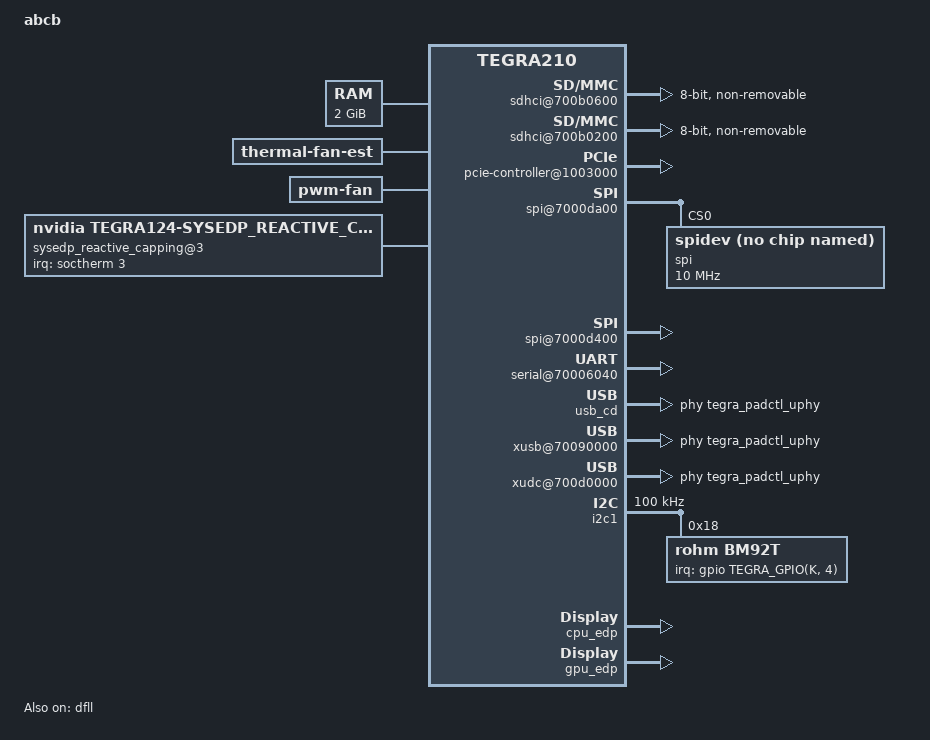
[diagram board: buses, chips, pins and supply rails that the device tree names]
/*
 * arch/arm64/boot/dts/tegra210-abca-common.dtsi
 *
 * Copyright (c) 2014-2017, NVIDIA CORPORATION.  All rights reserved.
 *
 * This program is free software; you can redistribute it and/or modify
 * it under the terms of the GNU General Public License as published by
 * the Free Software Foundation; version 2 of the License.
 *
 * This program is distributed in the hope that it will be useful, but WITHOUT
 * ANY WARRANTY; without even the implied warranty of MERCHANTABILITY or
 * FITNESS FOR A PARTICULAR PURPOSE.  See the GNU General Public License for
 * more details.
 *
 */

/dts-v1/;

/memreserve/ 0x80000000 0x00020000;

#include <t210-common-platforms/tegra210-common.dtsi>
#include <t210-common-platforms/tegra210-cpufreq.dtsi>
#include "abca-platforms/tegra210-abca-gpio.dtsi"
#include <t210-common-platforms/tegra210-pinmux-drive-sdmmc-common.dtsi>
#include "abca-platforms/tegra210-abcb-pinmux-01-00.dtsi"
#include "abca-platforms/tegra210-abca-prods.dtsi"
#include "abca-platforms/tegra210-abca-comms.dtsi"
#include <tegra210-soc/tegra210-sdhci.dtsi>
#include "abca-platforms/tegra210-thermal-fan-est-p2530-0930.dtsi"
#include "abca-platforms/tegra210-abcb-keys.dtsi"
#include <tegra210-soc/tegra210-edp.dtsi>
#include <t210-common-platforms/tegra210-sysedp.dtsi>
#include <tegra210-soc/tegra210-audio.dtsi>
#include <t210-common-platforms/tegra210-thermal-nct72-p2530.dtsi>
#include <tegra210-soc/tegra210-thermal-Tboard-Tdiode.dtsi>
#include "abca-platforms/tegra210-pwm-fan-p2530-0930.dtsi"
#include <dt-bindings/clock/tegra210-car.h>
#include <dt-bindings/reset/tegra210-car.h>
#include <dt-bindings/soc/tegra-pmc.h>
#include <dt-bindings/thermal/tegra124-soctherm.h>
#include <dt-bindings/thermal/tegra210-trips.h>

/ {
	model = "abcb";
	compatible = "nvidia,abcb", "nvidia,tegra210";
	nvidia,dtsfilename = __FILE__;

	nvidia,boardids = "2595:0000:A0";
	nvidia,proc-boardid = "2595:0000:A0";
	nvidia,pmu-boardid = "2595:0000:A0";
	#address-cells = <2>;
	#size-cells = <2>;

	chosen {
		bootargs = "earlycon=uart8250,mmio32,0x70006000";
		stdout-path = &uarta;
	};

	firmware {
		android {
			compatible = "android,firmware";
			hardware = "abcb";
		};
	};

	dvfs {
		compatible = "nvidia,tegra210-dvfs";
	};

	rtc {
		nvidia,pmc-wakeup = <&tegra_pmc PMC_WAKE_TYPE_EVENT 16
			PMC_TRIGGER_TYPE_HIGH>;
	};

	pmc@7000e400 {
		nvidia,invert-interrupt;
		nvidia,suspend-mode = <0>;
		nvidia,cpu-pwr-good-time = <0>;
		nvidia,cpu-pwr-off-time = <0>;
		nvidia,core-pwr-good-time = <4587 3876>;
		nvidia,core-pwr-off-time = <39065>;
		nvidia,core-power-req-active-high;
		nvidia,sys-clock-req-active-high;
		#nvidia,wake-cells = <3>;
		io-pad-defaults {
			audio-hv {
				nvidia,io-pad-init-voltage = <IO_PAD_VOLTAGE_1_8V>;
			};
			spi-hv {
				nvidia,io-pad-init-voltage = <IO_PAD_VOLTAGE_1_8V>;
			};
			gpio {
				nvidia,io-pad-init-voltage = <IO_PAD_VOLTAGE_1_8V>;
			};
			sdmmc3 {
				nvidia,io-pad-init-voltage = <IO_PAD_VOLTAGE_1_8V>;
			};
		};
	};

	memory@80000000 {
		device_type = "memory";
		reg = < 0x0 0x80000000 0x0 0x80000000 >;
	};

	sdhci@700b0600 { /* SDMMC4 for EMMC */
		tap-delay = <0>;
		max-clk-limit = <200000000>;
		uhs-mask = <0x0>;	/* hs400 */
		built-in;
		pll_source = "pll_p", "pll_c4_out2";
		power-off-rail;
		bus-width = <8>;
		non-removable;
		status = "okay";
	};

	sdhci@700b0400 {
		status = "disabled";
	};

	sdhci@700b0200 { /* SDMMC2 for 2nd EMMC */
		uhs-mask = <0x0>;	/* hs400 */
		built-in;
		power-off-rail;
		tap-delay = <0>;
		trim-delay = <8>;
		nvidia,is-ddr-tap-delay;
		nvidia,ddr-tap-delay = <0>;
		mmc-ocr-mask = <0>;
		dqs-trim-delay = <17>;
		max-clk-limit = <200000000>;
		bus-width = <8>;
		non-removable;
		built-in;
		nvidia,en-io-trim-volt;
		nvidia,is-emmc;
		nvidia,enable-cq;
		pll_source = "pll_p", "pll_c4_out2";
		status = "okay";
	};

	sdhci@700b0000 {
		status = "disabled";
	};

	adma@702e2000  {
		dma-channels = <10>;
		status = "okay";
	};

	ahub {
		i2s@702d1000 {
			pinctrl-names = "dap_active", "dap_inactive";
			pinctrl-0 = <>;
			pinctrl-1 = <>;
			regulator-supplies = "vdd-1v8-audio-hv", "vdd-1v8-audio-hv-bias";
			vdd-1v8-audio-hv-supply = <&max77620_sd3>;
			vdd-1v8-audio-hv-bias-supply = <&max77620_sd3>;
		};

		i2s@702d1300 {
			pinctrl-names = "dap_active", "dap_inactive";
			pinctrl-0 = <>;
			pinctrl-1 = <>;
			regulator-supplies = "vddio-dmic";
			vddio-dmic-supply = <&max77620_sd3>;
		};

		i2s@702d1100 {
			pinctrl-names = "dap_active", "dap_inactive";
			pinctrl-0 = <>;
			pinctrl-1 = <>;
			regulator-supplies = "vdd-1v8-spi-hv", "vdd-1v8-spi-hv-bias";
			vdd-1v8-spi-hv-supply = <&max77620_sd3>;
			vdd-1v8-spi-hv-bias-supply = <&max77620_sd3>;
			fsync-width = <0>;
		};
	};

	pcie-controller@1003000 {
		nvidia,wake-gpio = <&gpio TEGRA_GPIO(A, 2) 0>;
		dvdd-pex-pll-supply = <&max77620_ldo1>;
		l0-dvddio-pex-supply = <&max77620_ldo1>;
		l1-dvddio-pex-supply = <&max77620_ldo1>;
		l2-dvddio-pex-supply = <&max77620_ldo1>;
		l3-dvddio-pex-supply = <&max77620_ldo1>;
		l4-dvddio-pex-supply = <&max77620_ldo1>;
		l5-dvddio-pex-supply = <&max77620_ldo1>;
		l6-dvddio-pex-supply = <&max77620_ldo1>;
		hvdd-pex-pll-e-supply = <&max77620_sd3>;
		l0-hvddio-pex-supply = <&max77620_sd3>;
		l1-hvddio-pex-supply = <&max77620_sd3>;
		l2-hvddio-pex-supply = <&max77620_sd3>;
		l3-hvddio-pex-supply = <&max77620_sd3>;
		l4-hvddio-pex-supply = <&max77620_sd3>;
		l5-hvddio-pex-supply = <&max77620_sd3>;
		l6-hvddio-pex-supply = <&max77620_sd3>;
		vddio-pex-ctl-supply = <&max77620_sd3>;
		status = "okay";

		pci@1,0 {
			nvidia,num-lanes = <4>;
			status = "okay";
		};

		pci@2,0 {
			nvidia,num-lanes = <1>;
			status = "okay";
		};
	};

	spi@7000da00 {
		status = "okay";
		spi@0 {
			compatible = "spidev";
			status = "okay";
			reg = <0>;
			spi-cpol;
			spi-cpha;
			spi-max-frequency = <10000000>;
		};
	};

	spi@7000d400 {
		status = "okay";
	};

	serial@70006040 {
		status = "okay";
	};

	udc@7d000000 {
		nvidia,port-otg;
		nvidia,charging-supported;
		#extcon-cells = <1>;
		status = "disabled";
	};

        otg@7d000000 {
		#extcon-cells = <1>;
		status = "disabled";
	};

	mailbox@70098000 {
		status = "okay";
	};

	usb_cd {
		status = "okay";
		#extcon-cells = <1>;
		phys = <&tegra_padctl_uphy TEGRA_PADCTL_UPHY_UTMI_P(0)>;
		phy-names = "otg-phy";
	};

	pinctrl@7009f000 {
		status = "okay";
		pinctrl-0 = <&tegra_padctl_uphy_pinmux_default>;
		pinctrl-names = "default";
		tegra_padctl_uphy_pinmux_default: pinmux {
			usb2-micro-AB-xusb {
				nvidia,lanes = "otg-0";
				nvidia,function = "xusb";
				nvidia,port-cap =
					<TEGRA_PADCTL_PORT_OTG_CAP>;
			};
			usb3-std-A-port0 {
				nvidia,lanes = "uphy-lane-5";
				nvidia,function = "usb3";
				nvidia,usb3-port = <1>;
				nvidia,usb2-map = <1>;
				nvidia,port-cap =
					<TEGRA_PADCTL_PORT_HOST_ONLY>;
			};
			usb3-for-dev-mode {
				nvidia,lanes = "uphy-lane-6";
				nvidia,function = "usb3";
				nvidia,usb3-port = <0>;
				nvidia,usb2-map = <0>;
				nvidia,port-cap =
					<TEGRA_PADCTL_PORT_OTG_CAP>;
			};
			usb2-micro-AB-snps {
				nvidia,lanes = "otg-0";
				nvidia,function = "snps";
				status = "disabled";
			};
			usb2-std-A-port0 {
				 nvidia,lanes = "otg-1";
				 nvidia,function = "xusb";
				 nvidia,port-cap =
					<TEGRA_PADCTL_PORT_HOST_ONLY>;
			};
			usb2-std-A-port1 {
				 nvidia,lanes = "otg-2";
				 nvidia,function = "xusb";
				 nvidia,port-cap =
					<TEGRA_PADCTL_PORT_HOST_ONLY>;
			};
			usb2-std-A-port2 {
				 nvidia,lanes = "otg-3";
				 nvidia,function = "xusb";
				 nvidia,port-cap =
					<TEGRA_PADCTL_PORT_HOST_ONLY>;
			};
			pcie-0 {
				 nvidia,lanes =	"uphy-lane-1", "uphy-lane-2",
						"uphy-lane-3", "uphy-lane-4";
				 nvidia,function = "pcie";
				 nvidia,pcie-controller = <0>;
				 nvidia,pcie-lane-select =
					<TEGRA_PADCTL_PCIE_LANE_X4>;
			};
			pcie-1 {
				 nvidia,lanes =	"uphy-lane-0";
				 nvidia,function = "pcie";
				 nvidia,pcie-controller = <1>;
				 nvidia,pcie-lane-select =
					<TEGRA_PADCTL_PCIE_LANE_X1>;
			};
		};
	};

	xusb@70090000 {
		status = "okay";
		#extcon-cells = <1>;
		phys =	<&tegra_padctl_uphy TEGRA_PADCTL_UPHY_UTMI_P(3)>,
			<&tegra_padctl_uphy TEGRA_PADCTL_UPHY_UTMI_P(2)>,
			<&tegra_padctl_uphy TEGRA_PADCTL_UPHY_UTMI_P(1)>,
			<&tegra_padctl_uphy TEGRA_PADCTL_UPHY_UTMI_P(0)>,
			<&tegra_padctl_uphy TEGRA_PADCTL_UPHY_USB3_P(1)>,
			<&tegra_padctl_uphy TEGRA_PADCTL_UPHY_USB3_P(0)>;
		phy-names = "utmi-3", "utmi-2", "utmi-1", "utmi-0", "usb3-1", "usb3-0";
	};

	xudc@700d0000 {
		nvidia,portmap = <0x0108>;
		#extcon-cells = <1>;
		status = "okay";
		phys =  <&tegra_padctl_uphy TEGRA_PADCTL_UPHY_UTMI_P(0)>,
			<&tegra_padctl_uphy TEGRA_PADCTL_UPHY_USB3_P(0)>;
		phy-names = "usb2", "usb3";
	};

	xotg {
		#extcon-cells = <1>;
		status = "disabled";
	};

	tegra-pmc-blink-pwm {
		status = "okay";
	};

	gpu-dvfs-rework {
		status = "okay";
	};

	thermal-fan-est {
		compatible = "thermal-fan-est";
		active_trip_temps = <0 63000 74000 85000 120000
				140000 150000 160000 170000 180000>;
		active_hysteresis = <0 15000 11000 6000 4000
				0 0 0 0 0>;
	};

	pwm_fan_shared_data: pfsd {
		state_cap_lookup = <2 2 2 7 7 7 7 7 9 9>;
		pwm_period = <40000>;
		pwm_id = <1>;
		tach_gpio =  <&gpio TEGRA_GPIO(S, 7) GPIO_ACTIVE_LOW>; /* TEGRA_GPIO_PS7 */
		pwm_gpio = <&gpio TEGRA_GPIO(V, 4) GPIO_ACTIVE_LOW>; /* TEGRA_GPIO_PV4 */
	};

	pwm-fan {
		compatible = "pwm-fan";
		shared_data = <&pwm_fan_shared_data>;
		active_pwm = <0 70 115 135 135 240 245 250 252 255>;
	};

	i2c1: i2c@7000c000 {
		clock-frequency = <100000>;
	};

	i2c@7000c000 {
		rt5639: rt5639.0-001c@1c {
			compatible = "realtek,rt5639";
			reg = <0x1c>;
			sel_jd_source = <2>;
			status = "disabled";
		};
		bm92t: bm92t@18 {
			compatible = "rohm,bm92t";
			reg = <0x18>;
			interrupt-parent = <&gpio>;
			interrupts = <TEGRA_GPIO(K, 4) 0x01>;
			#extcon-cells = <1>;
			disable-power-nego;
		};
	};

	sound_card: sound {
		compatible = "nvidia,tegra-audio-t210ref-mobile-rt565x";
		nvidia,model = "tegra-snd-t210ref-mobile-rt565x";

		clocks = <&tegra_car TEGRA210_CLK_PLL_P_OUT1>,
                        <&tegra_car TEGRA210_CLK_PLL_A>,
                        <&tegra_car TEGRA210_CLK_PLL_A_OUT0>,
                        <&tegra_car TEGRA210_CLK_D_AUDIO>,
                        <&tegra_car TEGRA210_CLK_CLK_M>,
                        <&tegra_car TEGRA210_CLK_EXTERN1>;
		clock-names = "pll_p_out1", "pll_a", "pll_a_out0", "ahub",
			"clk_m", "extern1";


		assigned-clocks = <&tegra_car TEGRA210_CLK_PLL_A>,
			<&tegra_car TEGRA210_CLK_PLL_A_OUT0>,
			<&tegra_car TEGRA210_CLK_D_AUDIO>,
			<&tegra_car TEGRA210_CLK_EXTERN1>;
		assigned-clock-rates = <368640000>, <36864000>,
			<36864000>, <12288000>;

		nvidia,num-codec-link = <4>;

		nvidia,audio-routing =
			"x Headphone Jack", 	"x HPOL",
			"x Headphone Jack", 	"x HPOR",
			"x Int Spk", 	"x SPORP",
			"x Int Spk", 	"x SPORN",
			"x Int Spk", 	"x SPOLP",
			"x Int Spk", 	"x SPOLN",
			"x micbias1",	"x Mic Jack",
			"x IN1P",		"x Mic Jack",
			"x IN1P",		"x Mic Jack",
			"x DMIC L1",	"x Int Mic",
			"x DMIC L2",	"x Int Mic",
			"x DMIC R1",	"x Int Mic",
			"x DMIC R2",	"x Int Mic",
			"y Headphone", 	"y OUT",
			"y IN",		"y Mic",
			"z Headphone", 	"z OUT",
			"z IN",		"z Mic",
			"l IN",		"l OUT";

		nvidia,xbar = <&tegra_axbar>;

		nvidia,dai-link-1 {
			link-name = "rt565x-playback";
			cpu-dai = <&tegra_i2s1>;
			codec-dai = <&spdif_dit4>;
			cpu-dai-name = "I2S1";
			codec-dai-name = "dit-hifi";
			format = "i2s";
			bitclock-slave;
			frame-slave;
			bitclock-noninversion;
			frame-noninversion;
			bit-format = "s16_le";
			bclk_ratio = <0>;
			srate = <48000>;
			num-channel = <2>;
			name-prefix = "x";
		};
		nvidia,dai-link-2 {
			link-name = "spdif-dit-1";
			cpu-dai = <&tegra_i2s2>;
			codec-dai = <&spdif_dit1>;
			cpu-dai-name = "I2S2";
			codec-dai-name = "dit-hifi";
			format = "dsp_a";
			bitclock-slave;
			frame-slave;
			bitclock-inversion;
			frame-inversion;
			bit-format = "s16_le";
			bclk_ratio = <4>;
			srate = <8000>;
			num-channel = <1>;
			name-prefix = "y";
		};
		nvidia,dai-link-3 {
			link-name = "spdif-dit-2";
			cpu-dai = <&tegra_dmic2>;
			codec-dai = <&spdif_dit2>;
			cpu-dai-name = "DMIC2";
			codec-dai-name = "dit-hifi";
			format = "i2s";
			bit-format = "s16_le";
			srate = <48000>;
			num-channel = <2>;
			name-prefix = "z";
		};
		nvidia,dai-link-4 {
			link-name = "spdif-dit-3";
			cpu-dai = <&tegra_i2s3>;
			codec-dai = <&spdif_dit3>;
			cpu-dai-name = "I2S3";
			codec-dai-name = "dit-hifi";
			format = "i2s";
			bitclock-slave;
			frame-slave;
			bitclock-noninversion;
			frame-noninversion;
			bit-format = "s16_le";
			bclk_ratio = <0>;
			srate = <48000>;
			num-channel = <2>;
			name-prefix = "l";
		};
	};

	adsp_audio {
		compr-ops = <1>;
		num-plugin = <5>;
		plugin-info-1 {
			plugin-name = "mp3-dec1";
			firmware-name = "nvmp3dec.elf";
			widget-name = "MP3-DEC1";
		};
		plugin-info-2 {
			plugin-name = "spkprot";
			firmware-name = "nvspkprot.elf";
			widget-name = "SPKPROT-SW";
		};
		plugin-info-3 {
			plugin-name = "src";
			firmware-name = "nvsrc.elf";
			widget-name = "SRC";
		};
		plugin-info-4 {
			plugin-name = "aac-dec1";
			firmware-name = "nvaacdec.elf";
			widget-name = "AAC-DEC1";
		};
		plugin-info-5 {
			plugin-name = "aec";
			firmware-name = "libnvaecfx.elf";
			widget-name = "AEC";
			param-type = <2>; /* SNDRV_CTL_ELEM_TYPE_INTEGER */
		};
	};

	sysedp {
		compatible = "nvidia,tegra124-sysedp";
		nvidia,margin = <0>;
		nvidia,min_budget = <0>;
		nvidia,initial_budget = <40000>;
	};

    sysedp_reactive_capping@3 {
        compatible = "nvidia,tegra124-sysedp_reactive_capping";
        nvidia,max_capping_mw = <15000>;
        nvidia,step_alarm_mw = <1000>;
        nvidia,step_relax_mw = <500>;
        nvidia,relax_ms = <250>;
        interrupt-parent = <&soctherm>;
        interrupts = <3 0x2002>;
        sysedpc {
            nvidia,name = "batmon_oc3";
        };
    };

    sysedp-dynamic-capping {
        compatible = "nvidia,tegra124-sysedp-dynamic-capping";
        nvidia,throttle_depth = <75>;
        nvidia,cap_method = <1>;
    };

	bcmdhd_wlan {
		edp-consumer-name = "primary-wifi";
	};

	cpu_edp {
		status = "okay";
		nvidia,edp_limit = <25000>;
	};

	gpu_edp {
		status = "okay";
		nvidia,edp_limit = <25000>;
	};

	modem {
		/* using XHCI UTMI */
		nvidia,phy-type = <2>;
	};

	wifi-antenna-tuning {
		status = "disabled";
	};

	soctherm@0x700E2000 {
		throttle@oc1 {
			device_type = "throttlectl";
			oc-alarm-id = <1>;
			priority = <50>;
			mode = "brief";
			intr;
			active_low;
			count_threshold = <100>;
			filter = <5100000>;
			throttle_dev = <&{/soctherm@0x700E2000/throttle_dev@cpu_medium}
					&{/soctherm@0x700E2000/throttle_dev@gpu_medium}>;
		};
		throttle@oc3 {
			device_type = "throttlectl";
			oc-alarm-id = <3>;
			priority = <50>;
			mode = "brief";
			intr;
			active_low;
			count_threshold = <15>;
			filter = <5100000>;
			throttle_dev = <&{/soctherm@0x700E2000/throttle_dev@cpu_medium}
					&{/soctherm@0x700E2000/throttle_dev@gpu_medium}>;
		};
		throttle_dev@cpu_medium {
			dividend = <63>;
			divisor = <255>;
			duration = <0>;
			step = <0>;
		};
		throttle_dev@gpu_medium {
			level = "medium_throttling";
		};
	};

	thermal-zones {
		CPU-therm {
			status = "okay";
			thermal-zone-params {
				governor-name = "pid_thermal_gov";
				max_err_temp = <9000>;
				max_err_gain = <1000>;
				gain_p = <1000>;
				gain_d = <0>;
				up_compensation = <20>;
				down_compensation = <20>;
			};
			trips {
				cpu_critical {
					temperature = <102500>;
					hysteresis = <0>;
					type = "critical";
					writable;
				};
				cpu_heavy {
					temperature = <98500>;
					hysteresis = <0>;
					type = "hot";
					writable;
				};
				cpu_throttle {
					temperature = <89000>;
					hysteresis = <0>;
					type = "passive";
					writable;
				};
				core_dvfs_floor_trip0: core_dvfs_floor_trip0 {
					temperature = <15000>;
					hysteresis = <1000>;
					type = "active";
				};

				core_dvfs_cap_trip0: core_dvfs_cap_trip0 {
					temperature = <86000>;
					hysteresis = <1000>;
					type = "active";
				};

			};
			cooling-maps {
				map0 {
					trip = <&{/thermal-zones/CPU-therm/trips/cpu_critical}>;
					cdev-type = "tegra-shutdown";
					cooling-device = <&{/soctherm@0x700E2000/throttle@critical}
						THERMAL_NO_LIMIT THERMAL_NO_LIMIT>;
				};
				map1 {
					trip = <&{/thermal-zones/CPU-therm/trips/cpu_heavy}>;
					cdev-type = "tegra-heavy";
					cooling-device = <&{/soctherm@0x700E2000/throttle@heavy}
						THERMAL_NO_LIMIT THERMAL_NO_LIMIT>;
				};
				map2 {
					trip = <&{/thermal-zones/CPU-therm/trips/cpu_throttle}>;
					cdev-type = "cpu-balanced";
					cooling-device = <&{/bthrot_cdev/cpu_balanced}
						THERMAL_NO_LIMIT THERMAL_NO_LIMIT>;
				};
				core_dvfs_floor_map0 {
					trip = <&core_dvfs_floor_trip0>;
					cooling-device = <&core_dvfs_floor 1 1>;
				};
				core_dvfs_cap_map0 {
					trip = <&core_dvfs_cap_trip0>;
					cooling-device = <&core_dvfs_cap 1 1>;
				};
			};
		};
		GPU-therm {
			status = "okay";
			thermal-zone-params {
				governor-name = "pid_thermal_gov";
				max_err_temp = <9000>;
				max_err_gain = <1000>;
				gain_p = <1000>;
				gain_d = <0>;
				up_compensation = <20>;
				down_compensation = <20>;
			};
			trips {
				gpu_critical {
					temperature = <103000>;
					hysteresis = <0>;
					type = "critical";
					writable;
				};
				gpu_heavy {
					temperature = <100000>;
					hysteresis = <0>;
					type = "hot";
					writable;
				};
				gpu_throttle {
					temperature = <90500>;
					hysteresis = <0>;
					type = "passive";
					writable;
				};
			};
			cooling-maps {
				map0 {
					trip = <&{/thermal-zones/GPU-therm/trips/gpu_critical}>;
					cdev-type = "tegra-shutdown";
					cooling-device = <&{/soctherm@0x700E2000/throttle@critical}
						THERMAL_NO_LIMIT THERMAL_NO_LIMIT>;
				};
				map1 {
					trip = <&{/thermal-zones/GPU-therm/trips/gpu_heavy}>;
					cdev-type = "tegra-heavy";
					cooling-device = <&{/soctherm@0x700E2000/throttle@heavy}
						THERMAL_NO_LIMIT THERMAL_NO_LIMIT>;
				};
				map2 {
					trip = <&{/thermal-zones/GPU-therm/trips/gpu_throttle}>;
					cdev-type = "gpu-balanced";
					cooling-device = <&{/bthrot_cdev/gpu_balanced}
						THERMAL_NO_LIMIT THERMAL_NO_LIMIT>;
				};
			};
		};
		LCPU-therm {
			status = "okay";
			thermal-zone-params {
				governor-name = "pid_thermal_gov";
				max_err_temp = <9000>;
				max_err_gain = <1000>;
				gain_p = <1000>;
				gain_d = <0>;
				up_compensation = <20>;
				down_compensation = <20>;
			};
			trips {
				lcpu_critical {
					temperature = <103000>; /* must be same as GPU's critical temp */
					hysteresis = <0>;
					type = "critical";
					writable;
				};
				lcpu_heavy {
					temperature = <101500>;
					hysteresis = <0>;
					type = "hot";
					writable;
				};
				lcpu_throttle {
					temperature = <92000>;
					hysteresis = <0>;
					type = "passive";
					writable;
				};
			};
			cooling-maps {
				map0 {
					trip = <&{/thermal-zones/LCPU-therm/trips/lcpu_critical}>;
					cdev-type = "tegra-shutdown";
					cooling-device = <&{/soctherm@0x700E2000/throttle@critical}
						THERMAL_NO_LIMIT THERMAL_NO_LIMIT>;
				};
				map1 {
					trip = <&{/thermal-zones/LCPU-therm/trips/lcpu_heavy}>;
					cdev-type = "tegra-heavy";
					cooling-device = <&{/soctherm@0x700E2000/throttle@heavy}
						THERMAL_NO_LIMIT THERMAL_NO_LIMIT>;
				};
				map2 {
					trip = <&{/thermal-zones/LCPU-therm/trips/lcpu_throttle}>;
					cdev-type = "cpu-balanced";
					cooling-device = <&{/bthrot_cdev/cpu_balanced}
						THERMAL_NO_LIMIT THERMAL_NO_LIMIT>;
				};
			};
		};
		PLL-therm {
			status = "okay";
			thermal-zone-params {
				governor-name = "pid_thermal_gov";
				max_err_temp = <9000>;
				max_err_gain = <1000>;
				gain_p = <1000>;
				gain_d = <0>;
				up_compensation = <20>;
				down_compensation = <20>;
			};
		};
		Tboard_tegra {
			status = "okay";
		};
		Tdiode_tegra {
			status = "okay";
		};
		AO-therm {
			status = "okay";
		};
	};

	soctherm@0x700E2000 {
		throttle@oc3 {
			device_type = "throttlectl";
			oc-alarm-id = <3>;
			priority = <50>;
			mode = "brief";
			intr;
			active_low;
			count_threshold = <15>;
			filter = <5100000>;
			throttle_dev = <&{/soctherm@0x700E2000/throttle_dev@cpu_medium}
					&{/soctherm@0x700E2000/throttle_dev@gpu_medium}>;
		};
		throttle_dev@cpu_medium {
			dividend = <63>;
			divisor = <255>;
			duration = <0>;
			step = <0>;
		};
		throttle_dev@gpu_medium {
			level = "medium_throttling";
		};
	};

	sysedp_reactive_capping@3 {
		compatible = "nvidia,tegra124-sysedp_reactive_capping";
		nvidia,max_capping_mw = <15000>;
		nvidia,step_alarm_mw = <1000>;
		nvidia,step_relax_mw = <500>;
		nvidia,relax_ms = <250>;
		interrupt-parent = <&soctherm>;
		interrupts = <3 0x2002>;
		sysedpc {
			nvidia,name = "batmon_oc3";
		};
	};

	sysedp-dynamic-capping {
		compatible = "nvidia,tegra124-sysedp-dynamic-capping";
		nvidia,throttle_depth = <75>;
		nvidia,cap_method = <1>;
	};

	dfll: clock@70110000 {
		status = "okay";
		compatible = "nvidia,tegra210-dfll";
		reg = <0 0x70110000 0 0x100>, /* DFLL control */
			<0 0x70110000 0 0x100>, /* I2C output control */
			<0 0x70110100 0 0x100>, /* Integrated I2C controller */
			<0 0x70110200 0 0x100>; /* Look-up table RAM */
		out-clock-name="dfll_cpu";
		interrupts = <GIC_SPI 62 IRQ_TYPE_LEVEL_HIGH>;
		clocks = <&tegra_car TEGRA210_CLK_DFLL_SOC>,
				<&tegra_car TEGRA210_CLK_DFLL_REF>,
				<&tegra_car TEGRA210_CLK_I2C5>;
		clock-names = "soc", "ref", "i2c";
		resets = <&tegra_car TEGRA210_RST_DFLL_DVCO>;
		reset-names = "dvco";
		#clock-cells = <0>;
		clock-output-names = "dfllCPU_out";
		board-params = <&dfll_max77621_parms>;
		vdd-cpu-supply = <&cpu_max77621_reg>;
		i2c-pmic-integration = <&i2c_dfll>;
		nvidia,init-uv = <1000000>;
		nvidia,align-step-uv = <6250>;
		nvidia,sample-rate = <25000>;
		nvidia,droop-ctrl = <0x00000f00>;
		nvidia,force-mode = <1>;
		nvidia,cf = <6>;
		nvidia,ci = <0>;
		nvidia,cg = <2>;
		nvidia,i2c-fs-rate = <400000>;
	};

	cpus {
		cpu@0 {
			clocks = <&tegra_car TEGRA210_CLK_CCLK_G>,
				 <&tegra_car TEGRA210_CLK_CCLK_LP>,
				 <&tegra_car TEGRA210_CLK_PLL_X>,
				 <&tegra_car TEGRA210_CLK_PLL_P_OUT4>,
				 <&dfll>;
			clock-names = "cpu_g", "cpu_lp", "pll_x", "pll_p", "dfll";
			clock-latency = <300000>;
		};
	};

	memory-controller@70019000 {
		status = "okay";
        };

	dfll_cap: dfll-cdev-cap {
		compatible = "nvidia,tegra-dfll-cdev-action";
		act-dev = <&dfll>;
		cdev-type = "DFLL-cap";
		#cooling-cells = <2>; /* min followed by max */
	};

	dfll_floor: dfll-cdev-floor {
		compatible = "nvidia,tegra-dfll-cdev-action";
		act-dev = <&dfll>;
		cdev-type = "DFLL-floor";
		#cooling-cells = <2>; /* min followed by max */
	};

	thermal-zones {
		CPU-therm {
			trips {
				dfll_floor_trip0: dfll-floor-trip0 {
					temperature = <TEGRA210_DFLL_THERMAL_FLOOR_0>; /* millicelsius */
					hysteresis = <1000>; /* millicelsius */
					type = "active";
				};
				dfll_floor_trip1: dfll-floor-trip1 {
					temperature = <TEGRA210_DFLL_THERMAL_FLOOR_1>; /* millicelsius */
					hysteresis = <1000>; /* millicelsius */
					type = "active";
				};
				dfll_floor_trip2: dfll-floor-trip2 {
					temperature = <TEGRA210_DFLL_THERMAL_FLOOR_2>; /* millicelsius */
					hysteresis = <1000>; /* millicelsius */
					type = "active";
				};
				dfll_floor_trip3: dfll-floor-trip3 {
					temperature = <TEGRA210_DFLL_THERMAL_FLOOR_3>; /* millicelsius */
					hysteresis = <1000>; /* millicelsius */
					type = "active";
				};
				dfll_cap_trip0: dfll-cap-trip0 {
					temperature = <TEGRA210_DFLL_THERMAL_CAP_0>; /* millicelsius */
					hysteresis = <1000>; /* millicelsius */
					type = "active";
				};
				dfll_cap_trip1: dfll-cap-trip1 {
					temperature = <TEGRA210_DFLL_THERMAL_CAP_1>; /* millicelsius */
					hysteresis = <1000>; /* millicelsius */
					type = "active";
				};
			};

			cooling-maps {
				dfll_map0 {
					trip = <&dfll_floor_trip0>;
					cooling-device = <&dfll_floor 1 1>;
				};
				dfll_map1 {
					trip = <&dfll_floor_trip1>;
					cooling-device = <&dfll_floor 2 2>;
				};
				dfll_map2 {
					trip = <&dfll_floor_trip2>;
					cooling-device = <&dfll_floor 3 3>;
				};
				dfll_map3 {
					trip = <&dfll_floor_trip3>;
					cooling-device = <&dfll_floor 4 4>;
				};
				dfll_map5 {
					trip = <&dfll_cap_trip0>;
					cooling-device = <&dfll_cap 1 1>;
				};
				dfll_map6 {
					trip = <&dfll_cap_trip1>;
					cooling-device = <&dfll_cap 2 2>;
				};
			};
		};
	};

	/delete-node/ spi-touch19x12@0;
	/delete-node/ spi-touch25x16@0;
	/delete-node/ spi-touch14x8@0;
};
